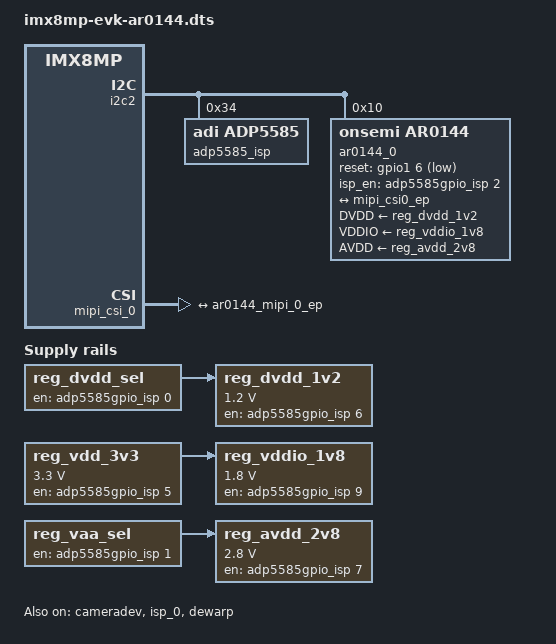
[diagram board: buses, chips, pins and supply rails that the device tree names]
/*
* Copyright 2022,2024 NXP
* SPDX-License-Identifier: (GPL-2.0-only OR MIT)
*/

/dts-v1/;

#include "imx8mp-evk.dts"

/ {
	reg_dvdd_sel: regulator-dvdd_sel {
		compatible = "regulator-fixed";
		regulator-name = "DVDD_SEL";
		gpio = <&adp5585gpio_isp 0 GPIO_ACTIVE_HIGH>;
		enable-active-high;
		startup-delay-us = <2000>;
	};

	reg_dvdd_1v2: regulator-dvdd {
		compatible = "regulator-fixed";
		regulator-name = "DVDD_1V2";
		gpio = <&adp5585gpio_isp 6 GPIO_ACTIVE_HIGH>;
		regulator-min-microvolt = <1200000>;
		regulator-max-microvolt = <1200000>;
		enable-active-high;
		vin-supply = <&reg_dvdd_sel>;
	};

	reg_vdd_3v3: regulator-vdd {
		compatible = "regulator-fixed";
		regulator-name = "VDD_3V3";
		gpio = <&adp5585gpio_isp 5 GPIO_ACTIVE_HIGH>;
		regulator-min-microvolt = <3300000>;
		regulator-max-microvolt = <3300000>;
		startup-delay-us = <4000>;
		enable-active-high;
	};

	reg_vddio_1v8: regulator-vddo {
		compatible = "regulator-fixed";
		regulator-name = "VDDIO_1V8";
		gpio = <&adp5585gpio_isp 9 GPIO_ACTIVE_HIGH>;
		regulator-min-microvolt = <1800000>;
		regulator-max-microvolt = <1800000>;
		startup-delay-us = <4000>;
		enable-active-high;
		vin-supply = <&reg_vdd_3v3>;
	};

	reg_vaa_sel: regulator-vaa_sel {
		compatible = "regulator-fixed";
		regulator-name = "VAA_SEL";
		gpio = <&adp5585gpio_isp 1 GPIO_ACTIVE_HIGH>;
		enable-active-high;
	};

	reg_avdd_2v8: regulator-avdd {
		compatible = "regulator-fixed";
		regulator-name = "AVDD_2V8";
		gpio = <&adp5585gpio_isp 7 GPIO_ACTIVE_HIGH>;
		regulator-min-microvolt = <2800000>;
		regulator-max-microvolt = <2800000>;
		enable-active-high;
		vin-supply = <&reg_vaa_sel>;
	};
};

&i2c2 {
	/delete-node/ov5640_mipi@3c;

	adp5585_isp: mfd-isp@34 {
		compatible = "adi,adp5585";
		reg = <0x34>;
		status = "okay";

		adp5585gpio_isp: gpio-isp@34 {
			compatible = "adp5585-gpio";
			gpio-controller;
			#gpio-cells = <2>;
		};

		adp5585pwm_isp: pwm-isp@34 {
			compatible = "adp5585-pwm";
			#pwm-cells = <3>;
		};
	};

	ar0144_0: ar0144_mipi@10 {
		compatible = "onsemi,ar0144";
		reg = <0x10>;
		csi_id = <0>;
		reset-gpios = <&gpio1 6 GPIO_ACTIVE_LOW>;
		isp_en-gpios  = <&adp5585gpio_isp 2 GPIO_ACTIVE_HIGH>;
		DVDD-supply   = <&reg_dvdd_1v2>;
		VDDIO-supply  = <&reg_vddio_1v8>;
		AVDD-supply   = <&reg_avdd_2v8>;
		status = "okay";

		port {
			ar0144_mipi_0_ep: endpoint {
				data-lanes = <1 2>;
				clock-lanes = <0>;
				remote-endpoint = <&mipi_csi0_ep>;
			};
		};
	};
};

&cameradev {
	status = "okay";
};

&isi_0 {
	status = "disabled";
};

&isp_0 {
	status = "okay";
};

&dewarp {
	status = "okay";
};

&mipi_csi_0 {
	status = "okay";
	//clock-frequency = <266000000>;
	//assigned-clock-parents = <&clk IMX8MP_SYS_PLL1_266M>;
	//assigned-clock-rates = <266000000>;

	port {
		endpoint {
			remote-endpoint = <&ar0144_mipi_0_ep>;
			data-lanes = <2>;
			csis-hs-settle = <9>;
		};
	};
};

&mipi_csi_1 {
	status = "disabled";
};
